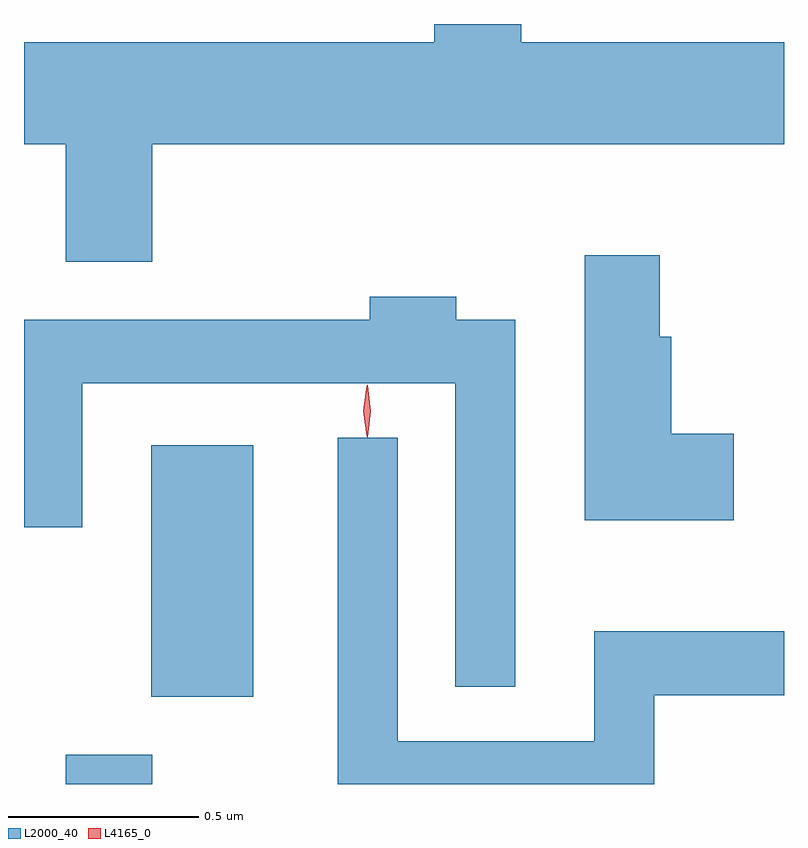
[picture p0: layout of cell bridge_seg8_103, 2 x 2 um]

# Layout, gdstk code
import gdstk
lib = gdstk.Library(unit=1e-6, precision=1e-09)
def R(c, l, rs):  # rectangles x0, y0, x1, y1
    for r in rs: c.add(gdstk.rectangle(r[:2], r[2:], *l))
def P(c, l, *ps):  # polygons
    for p in ps: c.add(gdstk.Polygon(p, *l))
L2000_40 = (2000, 40)
L4165_0 = (4165, 0)

bridge_seg8_103 = lib.new_cell('bridge_seg8_103')
R(bridge_seg8_103, L2000_40, [(1548.521,1812.532,1548.749,1812.609), (1548.746,1812.761,1549.014,1813.424)])
P(bridge_seg8_103, L2000_40, [(1548.749,1814.216),(1550.411,1814.216),(1550.411,1814.484),(1549.719,1814.484),(1549.719,1814.532),(1549.491,1814.532),(1549.491,1814.484),(1548.411,1814.484),(1548.411,1814.216),(1548.521,1814.216),(1548.521,1813.906),(1548.749,1813.906)],
  [(1550.279,1813.454),(1550.114,1813.454),(1550.114,1813.709),(1550.084,1813.709),(1550.084,1813.924),(1549.886,1813.924),(1549.886,1813.226),(1550.279,1813.226)],
  [(1549.704,1813.754),(1549.549,1813.754),(1549.549,1813.814),(1549.321,1813.814),(1549.321,1813.754),(1548.411,1813.754),(1548.411,1813.208),(1548.564,1813.208),(1548.564,1813.586),(1549.546,1813.586),(1549.546,1812.788),(1549.704,1812.788)],
  [(1550.069,1812.766),(1550.411,1812.766),(1550.411,1812.934),(1549.911,1812.934),(1549.911,1812.644),(1549.394,1812.644),(1549.394,1813.443),(1549.236,1813.443),(1549.236,1812.532),(1550.069,1812.532)])
P(bridge_seg8_103, L4165_0, [(1549.313,1813.447),(1549.304,1813.514),(1549.313,1813.58),(1549.314,1813.58),(1549.314,1813.58),(1549.324,1813.514),(1549.314,1813.447),(1549.314,1813.447)],
  [(1549.314,1813.444),(1549.314,1813.444),(1549.304,1813.513),(1549.314,1813.582),(1549.314,1813.583),(1549.315,1813.582),(1549.324,1813.513),(1549.315,1813.444)])

lib.write_gds('bridge_seg8_103.gds')
